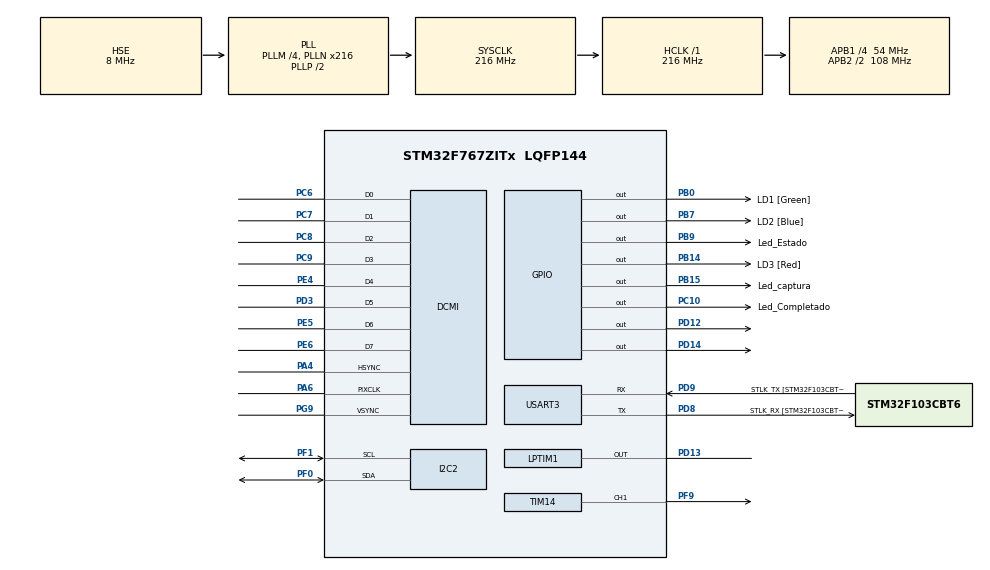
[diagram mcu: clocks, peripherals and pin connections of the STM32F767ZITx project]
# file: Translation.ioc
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CORTEX_M7.CPU_DCache=Enabled
CORTEX_M7.CPU_ICache=Enabled
CORTEX_M7.PREFETCH_ENABLE=1
DCMI.JPEGMode=DCMI_JPEG_DISABLE
DCMI.PCKPolarity=DCMI_PCKPOLARITY_RISING
DCMI.VSPolarity=DCMI_VSPOLARITY_HIGH
Dma.DCMI.0.Direction=DMA_PERIPH_TO_MEMORY
Dma.DCMI.0.FIFOMode=DMA_FIFOMODE_DISABLE
Dma.DCMI.0.Instance=DMA2_Stream1
Dma.DCMI.0.MemDataAlignment=DMA_MDATAALIGN_WORD
Dma.DCMI.0.MemInc=DMA_MINC_ENABLE
Dma.DCMI.0.Mode=DMA_NORMAL
Dma.DCMI.0.PeriphDataAlignment=DMA_PDATAALIGN_WORD
Dma.DCMI.0.PeriphInc=DMA_PINC_DISABLE
Dma.DCMI.0.Priority=DMA_PRIORITY_LOW
Dma.Request0=DCMI
I2C2.Timing=0x20404768
Mcu.Family=STM32F7
Mcu.Name=STM32F767ZITx
Mcu.Package=LQFP144
NVIC.DCMI_IRQn=true\:1\:0\:true\:false\:true\:true\:true\:true
NVIC.DMA2_Stream1_IRQn=true\:1\:0\:true\:false\:true\:false\:true\:true
NVIC.PriorityGroup=NVIC_PRIORITYGROUP_4
NVIC.TIM2_IRQn=true\:2\:0\:true\:false\:true\:true\:true\:true
NVIC.TIM3_IRQn=true\:0\:0\:false\:false\:true\:true\:true\:true
NVIC.TIM8_TRG_COM_TIM14_IRQn=true\:0\:0\:false\:false\:true\:true\:true\:true
NVIC.USART3_IRQn=true\:2\:0\:true\:false\:true\:true\:true\:true
PA13.GPIO_Label=TMS
PA13.Mode=Serial_Wire
PA13.Signal=SYS_JTMS-SWDIO
PA14.GPIO_Label=TCK
PA14.Mode=Serial_Wire
PA14.Signal=SYS_JTCK-SWCLK
PA4.Mode=Slave_8_bits_External_Synchro
PA4.Signal=DCMI_HSYNC
PA6.Mode=Slave_8_bits_External_Synchro
PA6.Signal=DCMI_PIXCLK
PB0.GPIO_Label=LD1 [Green]
PB0.GPIO_Speed=GPIO_SPEED_FREQ_VERY_HIGH
PB0.PinState=GPIO_PIN_SET
PB0.Signal=GPIO_Output
PB14.GPIO_Label=LD3 [Red]
PB14.Signal=GPIO_Output
PB15.GPIO_Label=Led_captura
PB15.Signal=GPIO_Output
PB7.GPIO_Label=LD2 [Blue]
PB7.Signal=GPIO_Output
PB9.GPIO_Label=Led_Estado
PB9.Signal=GPIO_Output
PC10.GPIO_Label=Led_Completado
PC10.Signal=GPIO_Output
PC6.Mode=Slave_8_bits_External_Synchro
PC6.Signal=DCMI_D0
PC7.Mode=Slave_8_bits_External_Synchro
PC7.Signal=DCMI_D1
PC8.Mode=Slave_8_bits_External_Synchro
PC8.Signal=DCMI_D2
PC9.Mode=Slave_8_bits_External_Synchro
PC9.Signal=DCMI_D3
PD12.GPIO_PuPd=GPIO_PULLUP
PD12.Signal=GPIO_Output
PD13.Mode=WaveformGeneration
PD13.Signal=LPTIM1_OUT
PD14.GPIO_PuPd=GPIO_PULLUP
PD14.Signal=GPIO_Output
PD3.Mode=Slave_8_bits_External_Synchro
PD3.Signal=DCMI_D5
PD8.GPIO_Label=STLK_RX [STM32F103CBT6_PA3]
PD8.Mode=Asynchronous
PD8.Signal=USART3_TX
PD9.GPIO_Label=STLK_TX [STM32F103CBT6_PA2]
PD9.Mode=Asynchronous
PD9.Signal=USART3_RX
PE4.Mode=Slave_8_bits_External_Synchro
PE4.Signal=DCMI_D4
PE5.Mode=Slave_8_bits_External_Synchro
PE5.Signal=DCMI_D6
PE6.Mode=Slave_8_bits_External_Synchro
PE6.Signal=DCMI_D7
PF0.Mode=I2C
PF0.Signal=I2C2_SDA
PF1.Mode=I2C
PF1.Signal=I2C2_SCL
PF9.Signal=S_TIM14_CH1
PG9.Mode=Slave_8_bits_External_Synchro
PG9.Signal=DCMI_VSYNC
PH0/OSC_IN.GPIO_Label=MCO [STM32F103CBT6_PA8]
PH0/OSC_IN.Mode=HSE-External-Oscillator
PH0/OSC_IN.Signal=RCC_OSC_IN
PH1/OSC_OUT.Mode=HSE-External-Oscillator
PH1/OSC_OUT.Signal=RCC_OSC_OUT
ProjectManager.HeapSize=0x200
ProjectManager.StackSize=0x400
ProjectManager.TargetToolchain=STM32CubeIDE
RCC.48MHZClocksFreq_Value=24000000
RCC.AHBFreq_Value=216000000
RCC.APB1CLKDivider=RCC_HCLK_DIV4
RCC.APB1Freq_Value=54000000
RCC.APB1TimFreq_Value=108000000
RCC.APB2CLKDivider=RCC_HCLK_DIV2
RCC.APB2Freq_Value=108000000
RCC.APB2TimFreq_Value=216000000
RCC.CortexFreq_Value=216000000
RCC.HCLKFreq_Value=216000000
RCC.HSE_VALUE=8000000
RCC.HSI_VALUE=16000000
RCC.LSE_VALUE=32768
RCC.PLLM=4
RCC.PLLMUL=RCC_PLL_MUL9
RCC.PLLN=216
RCC.PLLQ=4
RCC.PLLSourceVirtual=RCC_PLLSOURCE_HSE
RCC.PRESCALERUSB=RCC_USBCLKSOURCE_PLL_DIV1_5
RCC.SYSCLKFreq_VALUE=216000000
RCC.SYSCLKSource=RCC_SYSCLKSOURCE_PLLCLK
RCC.SYSCLKSourceVirtual=RCC_SYSCLKSOURCE_PLLCLK
RCC.USBFreq_Value=108000000
RCC.VCOOutputFreq_Value=432000000
SH.S_TIM14_CH1.0=TIM14_CH1,PWM Generation1 CH1
TIM14.Channel=TIM_CHANNEL_1
TIM14.Period=10000
TIM14.Prescaler=216 -1
TIM14.Pulse=5000
TIM2.ClockDivision=TIM_CLOCKDIVISION_DIV2
TIM2.Period=2500 - 1 
TIM2.Prescaler=21600-1
TIM3.Period=25-1
TIM3.Prescaler=2160-1
USART3.VirtualMode-Asynchronous=VM_ASYNC
VP_LPTIM1_VS_LPTIM_counterModeInternalClock.Mode=Counts__internal_clock_event_00
VP_TIM14_VS_ClockSourceINT.Mode=Enable_Timer
VP_TIM2_VS_ClockSourceINT.Mode=Internal
VP_TIM3_VS_ClockSourceINT.Mode=Internal
board=NUCLEO-F767ZI

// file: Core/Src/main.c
/* USER CODE BEGIN Header */
/**
  ******************************************************************************
  * @file           : main.c
  * @brief          : Main program body Smontoya
  ******************************************************************************
  * @attention
  *
  * Copyright (c) 2023 STMicroelectronics.
  * All rights reserved.
  *
  * This software is licensed under terms that can be found in the LICENSE file
  * in the root directory of this software component.
  * If no LICENSE file comes with this software, it is provided AS-IS.
  *
  ******************************************************************************
  */
/* USER CODE END Header */
#include "main.h"

/* USER CODE BEGIN Includes */
#include <string.h>
#include <stdio.h>
#include <stdint.h>
#include <stdbool.h>
//Hardware
#include "OV7670.h"

#include "color_conversion.h"
/* USER CODE END Includes */

/* USER CODE BEGIN PM */
#define res_QVGA 320*240/2
#define res_CIF 352*288/2
#define res_QCIF 176*144/2
#define res_QQCIF 88*72/2

/* USER CODE END PM */

DCMI_HandleTypeDef hdcmi;
DMA_HandleTypeDef hdma_dcmi;

I2C_HandleTypeDef hi2c2;

LPTIM_HandleTypeDef hlptim1;

TIM_HandleTypeDef htim2;
TIM_HandleTypeDef htim3;
TIM_HandleTypeDef htim14;

UART_HandleTypeDef huart3;

/* USER CODE BEGIN PV */
char uart_Buffer[256];
uint8_t uart_Recieve;

uint8_t conteo_Frames = 0;
uint8_t PWM_flag = 0;
uint8_t DMA_complete_flag = 0;
uint8_t DCMI_Frame_Flag = 0;
uint8_t capturando = 0;

uint32_t image_data[res_CIF/2] = {0};

Camera_settings OV7670_settings={
		CIF, 		//Resolution
		RGB565,  	//Format
		NORMAL, 	//Effect
		ON,			//AEC
		ON, 		//AGC
		ON, 		//AWB
		OFF,		//Color bar
		OFF,		//vertical flip
		OFF,		//Horizontal flip
		OFF,		//Night mode
		OFF,		//ASC
		ON,			//De-noise
		ON,			//Banding filter
		HISTOGRAM,	//AEC algorithm
		QUARTER_FPS,//Min. fps in night mode
		F_AUTO,		//Auto detect banding freq.
		256, 		//Exposure - 2 bytes
		4, 			//Gain	[0-7]=[1-128]
		160,		//Brightness - byte
		64, 		//Contrast - byte
		80, 		//Saturation - byte
		2,			//Sharpness	- [0-31]
		0,			//De-noise strength - byte
		x16, 		//Gain ceiling
		77, 		//R channel gain - byte
		103, 		//G channel gain - byte
		153			//B channel gain - byte
};

/* USER CODE END PV */

void SystemClock_Config(void);
static void MX_GPIO_Init(void);
static void MX_DMA_Init(void);
static void MX_DCMI_Init(void);
static void MX_I2C2_Init(void);
static void MX_LPTIM1_Init(void);
static void MX_TIM2_Init(void);
static void MX_USART3_UART_Init(void);
static void MX_TIM3_Init(void);
static void MX_TIM14_Init(void);
/* USER CODE BEGIN PFP */
//void TransferComplete(DMA_HandleTypeDef *DmaHandle);
void send_Image_UART(uint32_t* image_Data,uint32_t res_Size);
void check_Frame(void);
void send_Frame(void);

/* USER CODE END PFP */

/* USER CODE BEGIN 0 */
void HAL_TIM_PeriodElapsedCallback(TIM_HandleTypeDef *htim){
	if(htim == &htim2){
		HAL_GPIO_TogglePin(LD1_GPIO_Port, LD1_Pin);
		HAL_GPIO_TogglePin(Led_Estado_GPIO_Port, Led_Estado_Pin);
	}
}

void HAL_TIM_PWM_PulseFinishedCallback(TIM_HandleTypeDef *htim){
	if(htim == &htim14){
		HAL_TIM_PWM_Stop(&htim14, TIM_CHANNEL_1);
		HAL_GPIO_WritePin(Led_Completado_GPIO_Port, Led_Completado_Pin, SET);
	}
}
void HAL_UART_RxCpltCallback(UART_HandleTypeDef *huart){
	HAL_UART_Receive_IT(&huart3, &uart_Recieve, 1);
}

/* No funciona */
//void TransferComplete(DMA_HandleTypeDef *DmaHandle){
//	DMA_complete_flag = DMA_complete_flag + 1;
//}

void HAL_DCMI_FrameEventCallback(DCMI_HandleTypeDef *hdcmi){
	DMA_complete_flag = 1;
}

/* No funciona */
//void DMA_XferCpltCallback(DMA_HandleTypeDef *hdcmi_hdma){
//	DMA_complete_flag = DMA_complete_flag + 3;
//}
/* USER CODE END 0 */

int main(void)
{

  /* Enable I-Cache---------------------------------------------------------*/
  SCB_EnableICache();

  /* Enable D-Cache---------------------------------------------------------*/
  SCB_EnableDCache();

  /* MCU Configuration--------------------------------------------------------*/

  /* Reset of all peripherals, Initializes the Flash interface and the Systick. */
  HAL_Init();

  /* Configure the system clock */
  SystemClock_Config();

  /* Initialize all configured peripherals */
  MX_GPIO_Init();
  MX_DMA_Init();
  MX_DCMI_Init();
  MX_I2C2_Init();
  MX_LPTIM1_Init();
  MX_TIM2_Init();
  MX_USART3_UART_Init();
  MX_TIM3_Init();
  MX_TIM14_Init();
  /* USER CODE BEGIN 2 */

  // Inicialización de timer LED
  HAL_TIM_Base_Start_IT(&htim2);

  // Inicialización de USART para comunicación
  HAL_UART_Receive_IT(&huart3, &uart_Recieve, 1);

  // Apaga cámara
  OV7670_Power(DISABLE);

  /* Funcion que relaciona los perifericos usados con los punteros
  	  creados en el driver */
  OV7670_Init(&hdcmi, &hdma_dcmi, &hi2c2, &hlptim1);

  /* Enciende el reloj que se le va a entregar a la cámara, retorna RST y PWDN
   * a los estados de funcionamiento y realiza un soft reset de los registros
   * en la cámara */
  OV7670_PowerUp();

  sprintf(uart_Buffer, "Camara configurada\n");
  HAL_UART_Transmit(&huart3, (uint8_t*) uart_Buffer, strlen(uart_Buffer), 100);

  /* Realiza configuraciones personalizadas en la cámara, ajustes de fotografía,
   * resolución y funcionamiento */
  OV7670_UpdateSettings(OV7670_settings);
  OV7670_SetFrameRate(XCLK_DIV(1), PLL_x4); // Es posiblemente innecesario porque se va a capturar solo 1 frame cada vez
  HAL_Delay(10);

  /* En teoría en este momento, image_data debería obtener la información de 1 frame */
//  uint32_t image_Data_Full = 0;
//  for(uint32_t i = 0; i < 352*144; i++){
//	  if(image_data[i] == 0){
//		  __NOP();
//	  }
//	  else {
//		  image_Data_Full++;
//	  }
//  }

  /* USER CODE END 2 */

  /* Infinite loop */
  /* USER CODE BEGIN WHILE */

  sprintf(uart_Buffer, "Cada que termina un frame, presione 's' después de guardar los datos.\n");
  HAL_UART_Transmit(&huart3, (uint8_t*) uart_Buffer, strlen(uart_Buffer), 100);
  sprintf(uart_Buffer, "Limpie la pantalla y presione 'i' para iniciar.\n");
  HAL_UART_Transmit(&huart3, (uint8_t*) uart_Buffer, strlen(uart_Buffer), 100);

  while (1)
  {
	 if(uart_Recieve != '\0'){

		 if(uart_Recieve == 'i'){
			 capturando = 1;
		 }

//		 else if(uart_Recieve == 'a'){
//			 // Iniciar captura
//			 OV7670_Start(SNAPSHOT, image_data);
//
//			 // Esperar que llegue el frame completo
//			 check_Frame();
//
//			 // Detener captura DCMI cuando el DMA termine
//			 OV7670_Stop();
//
//			 /* Transmitir imagen por serial USART */
//			 for(uint32_t i = 0; i <  res_QCIF/2; i++){
//				  for(int j = 0; j <= 3; j++){
//					 uint8_t var = ((image_data[i] >> (8*j)) & 0xFF);
//					 HAL_UART_Transmit(&huart3, &var, 1, 100);
//				  }
//			 }
//
////			 sprintf(uart_Buffer, "\nFrame enviado.\n");
////			 HAL_UART_Transmit(&huart3, (uint8_t*) uart_Buffer, strlen(uart_Buffer), 100);
//
//			 // Controlador para evaluar cuándo el sistema realizó 200 fotos
//			 conteo_Frames++;
//
//			 // Inicio de PWM que gira un paso el motor
//			 PWM_flag = 1;
//			 HAL_TIM_PWM_Start_IT(&htim14, TIM_CHANNEL_1);
//
////			 sprintf(uart_Buffer, "\nGiro motor.\n");
////			 HAL_UART_Transmit(&huart3, (uint8_t*) uart_Buffer, strlen(uart_Buffer), 100);
//
//			 uart_Recieve = '\0';
//		 }
//
//		 else if(uart_Recieve == 'e'){
//			 sprintf(uart_Buffer, "0D0A");
//			 HAL_UART_Transmit(&huart3, (uint8_t*) uart_Buffer, strlen(uart_Buffer), 100);
//			 uart_Recieve = '\0';
//		 }
		 else {
			 uart_Recieve = '\0';
		 }
		 while(capturando == 1 && conteo_Frames < 200){
			 send_Frame();
		 }

//		 while(capturando == 1 && conteo_Frames < 200){
//
//			 // Iniciar captura
//			 OV7670_Start(SNAPSHOT, image_data);
//
//			 // Esperar que llegue el frame completo
//			 check_Frame();
//
//			 // Detener captura DCMI cuando el DMA termine
//			 OV7670_Stop();
//
//			 /* Transmitir imagen por serial USART */
//			 for(uint32_t i = 0; i <  res_QCIF/2; i++){
//				  for(int j = 0; j <= 3; j++){
//					 uint8_t var = ((image_data[i] >> (8*j)) & 0xFF);
//					 HAL_UART_Transmit(&huart3, &var, 1, 100);
//				  }
//			 }
//
////			 sprintf(uart_Buffer, "\nFrame enviado.\n");
////			 HAL_UART_Transmit(&huart3, (uint8_t*) uart_Buffer, strlen(uart_Buffer), 100);
//
//			 // Controlador para evaluar cuándo el sistema realizó 200 fotos
//			 conteo_Frames++;
//
//			 // Inicio de PWM que gira un paso el motor
//			 PWM_flag = 1;
//			 HAL_TIM_PWM_Start_IT(&htim14, TIM_CHANNEL_1);
//
////			 sprintf(uart_Buffer, "\nGiro motor.\n");
////			 HAL_UART_Transmit(&huart3, (uint8_t*) uart_Buffer, strlen(uart_Buffer), 100);
//
//			 uart_Recieve = '\0';
//
//		 }

	 }
    /* USER CODE END WHILE */

  }
}

void SystemClock_Config(void)
{
  RCC_OscInitTypeDef RCC_OscInitStruct = {0};
  RCC_ClkInitTypeDef RCC_ClkInitStruct = {0};

  /** Configure the main internal regulator output voltage
  */
  __HAL_RCC_PWR_CLK_ENABLE();
  __HAL_PWR_VOLTAGESCALING_CONFIG(PWR_REGULATOR_VOLTAGE_SCALE1);

  /** Initializes the RCC Oscillators according to the specified parameters
  * in the RCC_OscInitTypeDef structure.
  */
  RCC_OscInitStruct.OscillatorType = RCC_OSCILLATORTYPE_HSE;
  RCC_OscInitStruct.HSEState = RCC_HSE_ON;
  RCC_OscInitStruct.PLL.PLLState = RCC_PLL_ON;
  RCC_OscInitStruct.PLL.PLLSource = RCC_PLLSOURCE_HSE;
  RCC_OscInitStruct.PLL.PLLM = 4;
  RCC_OscInitStruct.PLL.PLLN = 216;
  RCC_OscInitStruct.PLL.PLLP = RCC_PLLP_DIV2;
  RCC_OscInitStruct.PLL.PLLQ = 4;
  RCC_OscInitStruct.PLL.PLLR = 2;
  if (HAL_RCC_OscConfig(&RCC_OscInitStruct) != HAL_OK)
  {
    Error_Handler();
  }

  /** Activate the Over-Drive mode
  */
  if (HAL_PWREx_EnableOverDrive() != HAL_OK)
  {
    Error_Handler();
  }

  /** Initializes the CPU, AHB and APB buses clocks
  */
  RCC_ClkInitStruct.ClockType = RCC_CLOCKTYPE_HCLK|RCC_CLOCKTYPE_SYSCLK
                              |RCC_CLOCKTYPE_PCLK1|RCC_CLOCKTYPE_PCLK2;
  RCC_ClkInitStruct.SYSCLKSource = RCC_SYSCLKSOURCE_PLLCLK;
  RCC_ClkInitStruct.AHBCLKDivider = RCC_SYSCLK_DIV1;
  RCC_ClkInitStruct.APB1CLKDivider = RCC_HCLK_DIV4;
  RCC_ClkInitStruct.APB2CLKDivider = RCC_HCLK_DIV2;

  if (HAL_RCC_ClockConfig(&RCC_ClkInitStruct, FLASH_LATENCY_7) != HAL_OK)
  {
    Error_Handler();
  }
}

static void MX_DCMI_Init(void)
{

  hdcmi.Instance = DCMI;
  hdcmi.Init.SynchroMode = DCMI_SYNCHRO_HARDWARE;
  hdcmi.Init.PCKPolarity = DCMI_PCKPOLARITY_RISING;
  hdcmi.Init.VSPolarity = DCMI_VSPOLARITY_HIGH;
  hdcmi.Init.HSPolarity = DCMI_HSPOLARITY_LOW;
  hdcmi.Init.CaptureRate = DCMI_CR_ALL_FRAME;
  hdcmi.Init.ExtendedDataMode = DCMI_EXTEND_DATA_8B;
  hdcmi.Init.JPEGMode = DCMI_JPEG_DISABLE;
  hdcmi.Init.ByteSelectMode = DCMI_BSM_ALL;
  hdcmi.Init.ByteSelectStart = DCMI_OEBS_ODD;
  hdcmi.Init.LineSelectMode = DCMI_LSM_ALL;
  hdcmi.Init.LineSelectStart = DCMI_OELS_ODD;
  if (HAL_DCMI_Init(&hdcmi) != HAL_OK)
  {
    Error_Handler();
  }

}

static void MX_I2C2_Init(void)
{

  hi2c2.Instance = I2C2;
  hi2c2.Init.Timing = 0x20404768;
  hi2c2.Init.OwnAddress1 = 0;
  hi2c2.Init.AddressingMode = I2C_ADDRESSINGMODE_7BIT;
  hi2c2.Init.DualAddressMode = I2C_DUALADDRESS_DISABLE;
  hi2c2.Init.OwnAddress2 = 0;
  hi2c2.Init.OwnAddress2Masks = I2C_OA2_NOMASK;
  hi2c2.Init.GeneralCallMode = I2C_GENERALCALL_DISABLE;
  hi2c2.Init.NoStretchMode = I2C_NOSTRETCH_DISABLE;
  if (HAL_I2C_Init(&hi2c2) != HAL_OK)
  {
    Error_Handler();
  }

  /** Configure Analogue filter
  */
  if (HAL_I2CEx_ConfigAnalogFilter(&hi2c2, I2C_ANALOGFILTER_ENABLE) != HAL_OK)
  {
    Error_Handler();
  }

  /** Configure Digital filter
  */
  if (HAL_I2CEx_ConfigDigitalFilter(&hi2c2, 0) != HAL_OK)
  {
    Error_Handler();
  }

}

static void MX_LPTIM1_Init(void)
{

  hlptim1.Instance = LPTIM1;
  hlptim1.Init.Clock.Source = LPTIM_CLOCKSOURCE_APBCLOCK_LPOSC;
  hlptim1.Init.Clock.Prescaler = LPTIM_PRESCALER_DIV1;
  hlptim1.Init.Trigger.Source = LPTIM_TRIGSOURCE_SOFTWARE;
  hlptim1.Init.OutputPolarity = LPTIM_OUTPUTPOLARITY_HIGH;
  hlptim1.Init.UpdateMode = LPTIM_UPDATE_IMMEDIATE;
  hlptim1.Init.CounterSource = LPTIM_COUNTERSOURCE_INTERNAL;
  if (HAL_LPTIM_Init(&hlptim1) != HAL_OK)
  {
    Error_Handler();
  }

}

static void MX_TIM2_Init(void)
{

  TIM_ClockConfigTypeDef sClockSourceConfig = {0};
  TIM_MasterConfigTypeDef sMasterConfig = {0};

  htim2.Instance = TIM2;
  htim2.Init.Prescaler = 21600-1;
  htim2.Init.CounterMode = TIM_COUNTERMODE_UP;
  htim2.Init.Period = 2500 - 1 ;
  htim2.Init.ClockDivision = TIM_CLOCKDIVISION_DIV2;
  htim2.Init.AutoReloadPreload = TIM_AUTORELOAD_PRELOAD_DISABLE;
  if (HAL_TIM_Base_Init(&htim2) != HAL_OK)
  {
    Error_Handler();
  }
  sClockSourceConfig.ClockSource = TIM_CLOCKSOURCE_INTERNAL;
  if (HAL_TIM_ConfigClockSource(&htim2, &sClockSourceConfig) != HAL_OK)
  {
    Error_Handler();
  }
  sMasterConfig.MasterOutputTrigger = TIM_TRGO_RESET;
  sMasterConfig.MasterSlaveMode = TIM_MASTERSLAVEMODE_DISABLE;
  if (HAL_TIMEx_MasterConfigSynchronization(&htim2, &sMasterConfig) != HAL_OK)
  {
    Error_Handler();
  }

}

static void MX_TIM3_Init(void)
{

  TIM_ClockConfigTypeDef sClockSourceConfig = {0};
  TIM_MasterConfigTypeDef sMasterConfig = {0};

  htim3.Instance = TIM3;
  htim3.Init.Prescaler = 2160-1;
  htim3.Init.CounterMode = TIM_COUNTERMODE_UP;
  htim3.Init.Period = 25-1;
  htim3.Init.ClockDivision = TIM_CLOCKDIVISION_DIV1;
  htim3.Init.AutoReloadPreload = TIM_AUTORELOAD_PRELOAD_DISABLE;
  if (HAL_TIM_Base_Init(&htim3) != HAL_OK)
  {
    Error_Handler();
  }
  sClockSourceConfig.ClockSource = TIM_CLOCKSOURCE_INTERNAL;
  if (HAL_TIM_ConfigClockSource(&htim3, &sClockSourceConfig) != HAL_OK)
  {
    Error_Handler();
  }
  sMasterConfig.MasterOutputTrigger = TIM_TRGO_RESET;
  sMasterConfig.MasterSlaveMode = TIM_MASTERSLAVEMODE_DISABLE;
  if (HAL_TIMEx_MasterConfigSynchronization(&htim3, &sMasterConfig) != HAL_OK)
  {
    Error_Handler();
  }

}

static void MX_TIM14_Init(void)
{

  TIM_OC_InitTypeDef sConfigOC = {0};

  htim14.Instance = TIM14;
  htim14.Init.Prescaler = 216 -1;
  htim14.Init.CounterMode = TIM_COUNTERMODE_UP;
  htim14.Init.Period = 10000;
  htim14.Init.ClockDivision = TIM_CLOCKDIVISION_DIV1;
  htim14.Init.AutoReloadPreload = TIM_AUTORELOAD_PRELOAD_DISABLE;
  if (HAL_TIM_Base_Init(&htim14) != HAL_OK)
  {
    Error_Handler();
  }
  if (HAL_TIM_PWM_Init(&htim14) != HAL_OK)
  {
    Error_Handler();
  }
  sConfigOC.OCMode = TIM_OCMODE_PWM1;
  sConfigOC.Pulse = 5000;
  sConfigOC.OCPolarity = TIM_OCPOLARITY_HIGH;
  sConfigOC.OCFastMode = TIM_OCFAST_DISABLE;
  if (HAL_TIM_PWM_ConfigChannel(&htim14, &sConfigOC, TIM_CHANNEL_1) != HAL_OK)
  {
    Error_Handler();
  }
  HAL_TIM_MspPostInit(&htim14);

}

static void MX_USART3_UART_Init(void)
{

  huart3.Instance = USART3;
  huart3.Init.BaudRate = 115200;
  huart3.Init.WordLength = UART_WORDLENGTH_8B;
  huart3.Init.StopBits = UART_STOPBITS_1;
  huart3.Init.Parity = UART_PARITY_NONE;
  huart3.Init.Mode = UART_MODE_TX_RX;
  huart3.Init.HwFlowCtl = UART_HWCONTROL_NONE;
  huart3.Init.OverSampling = UART_OVERSAMPLING_16;
  huart3.Init.OneBitSampling = UART_ONE_BIT_SAMPLE_DISABLE;
  huart3.AdvancedInit.AdvFeatureInit = UART_ADVFEATURE_NO_INIT;
  if (HAL_UART_Init(&huart3) != HAL_OK)
  {
    Error_Handler();
  }

}

static void MX_DMA_Init(void)
{

  /* DMA controller clock enable */
  __HAL_RCC_DMA2_CLK_ENABLE();

  /* DMA interrupt init */
  /* DMA2_Stream1_IRQn interrupt configuration */
  HAL_NVIC_SetPriority(DMA2_Stream1_IRQn, 1, 0);
  HAL_NVIC_EnableIRQ(DMA2_Stream1_IRQn);

}

static void MX_GPIO_Init(void)
{
  GPIO_InitTypeDef GPIO_InitStruct = {0};

  /* GPIO Ports Clock Enable */
  __HAL_RCC_GPIOE_CLK_ENABLE();
  __HAL_RCC_GPIOF_CLK_ENABLE();
  __HAL_RCC_GPIOH_CLK_ENABLE();
  __HAL_RCC_GPIOA_CLK_ENABLE();
  __HAL_RCC_GPIOB_CLK_ENABLE();
  __HAL_RCC_GPIOD_CLK_ENABLE();
  __HAL_RCC_GPIOC_CLK_ENABLE();
  __HAL_RCC_GPIOG_CLK_ENABLE();

  /*Configure GPIO pin Output Level */
  HAL_GPIO_WritePin(LD1_GPIO_Port, LD1_Pin, GPIO_PIN_SET);

  /*Configure GPIO pin Output Level */
  HAL_GPIO_WritePin(GPIOB, LD3_Pin|Led_captura_Pin|LD2_Pin|Led_Estado_Pin, GPIO_PIN_RESET);

  /*Configure GPIO pin Output Level */
  HAL_GPIO_WritePin(GPIOD, GPIO_PIN_12|GPIO_PIN_14, GPIO_PIN_RESET);

  /*Configure GPIO pin Output Level */
  HAL_GPIO_WritePin(Led_Completado_GPIO_Port, Led_Completado_Pin, GPIO_PIN_RESET);

  /*Configure GPIO pin : LD1_Pin */
  GPIO_InitStruct.Pin = LD1_Pin;
  GPIO_InitStruct.Mode = GPIO_MODE_OUTPUT_PP;
  GPIO_InitStruct.Pull = GPIO_NOPULL;
  GPIO_InitStruct.Speed = GPIO_SPEED_FREQ_VERY_HIGH;
  HAL_GPIO_Init(LD1_GPIO_Port, &GPIO_InitStruct);

  /*Configure GPIO pins : LD3_Pin Led_captura_Pin LD2_Pin Led_Estado_Pin */
  GPIO_InitStruct.Pin = LD3_Pin|Led_captura_Pin|LD2_Pin|Led_Estado_Pin;
  GPIO_InitStruct.Mode = GPIO_MODE_OUTPUT_PP;
  GPIO_InitStruct.Pull = GPIO_NOPULL;
  GPIO_InitStruct.Speed = GPIO_SPEED_FREQ_LOW;
  HAL_GPIO_Init(GPIOB, &GPIO_InitStruct);

  /*Configure GPIO pins : PD12 PD14 */
  GPIO_InitStruct.Pin = GPIO_PIN_12|GPIO_PIN_14;
  GPIO_InitStruct.Mode = GPIO_MODE_OUTPUT_PP;
  GPIO_InitStruct.Pull = GPIO_PULLUP;
  GPIO_InitStruct.Speed = GPIO_SPEED_FREQ_LOW;
  HAL_GPIO_Init(GPIOD, &GPIO_InitStruct);

  /*Configure GPIO pin : Led_Completado_Pin */
  GPIO_InitStruct.Pin = Led_Completado_Pin;
  GPIO_InitStruct.Mode = GPIO_MODE_OUTPUT_PP;
  GPIO_InitStruct.Pull = GPIO_NOPULL;
  GPIO_InitStruct.Speed = GPIO_SPEED_FREQ_LOW;
  HAL_GPIO_Init(Led_Completado_GPIO_Port, &GPIO_InitStruct);

}

/* USER CODE BEGIN 4 */
void send_Image_UART(uint32_t* image_Data,uint32_t res_Size){
	uint32_t dataAmount = res_Size;
	for(uint32_t i = 0; i <  dataAmount; i++){
		  for(int j = 0; j <= 3; j++){
			 uint8_t var = ((image_Data[i] >> (8*j)) & 0xFF);
			 HAL_UART_Transmit(&huart3, &var, 1, 100);
		  }
	 }
}

void check_Frame(void){
	while(DCMI_Frame_Flag == 0 && HAL_DMA_GetState(&hdma_dcmi) != HAL_DMA_STATE_READY);
	DCMI_Frame_Flag = 0;
}

void send_Frame(void){
	 if(uart_Recieve == 's' || uart_Recieve == 'i'){
		 // Apagar pin de completado
		 HAL_GPIO_WritePin(Led_Completado_GPIO_Port, Led_Completado_Pin, RESET);

		 // Reinicio de bandera para chequear nuevo frame
		 DCMI_Frame_Flag = 0;

		 // Iniciar captura
		 OV7670_Start(SNAPSHOT, image_data);

		 // Esperar que llegue el frame completo
		 check_Frame();

		 // Detener captura DCMI cuando el DMA termine
		 OV7670_Stop();

		 /* Transmitir imagen por serial USART */
		for(uint32_t i = 0; i <  res_CIF; i++){
			  for(int j = 0; j <= 3; j++){
				 uint8_t var = ((image_data[i] >> (8*j)) & 0xFF);
				 HAL_UART_Transmit(&huart3, &var, 1, 100);
			  }
		 }

//		 sprintf(uart_Buffer, "\nFrame enviado.\n");
//		 HAL_UART_Transmit(&huart3, (uint8_t*) uart_Buffer, strlen(uart_Buffer), 100);

		 // Inicio de PWM que gira un paso el motor
		 PWM_flag = 1;
		 HAL_TIM_PWM_Start_IT(&htim14, TIM_CHANNEL_1);

//		sprintf(uart_Buffer, "\nGiro motor.\n");
//		HAL_UART_Transmit(&huart3, (uint8_t*) uart_Buffer, strlen(uart_Buffer), 100);

		 // Control para evaluar cuándo el sistema realizó 200 fotos
		 conteo_Frames++;

		if(conteo_Frames == 5){
			uart_Recieve = '\0';
			capturando = 0;
			conteo_Frames = 0;
		}
	 }
}

/* No funciona creo */
//void send_Serial_End(void){
//	sprintf(uart_Buffer, "%X %X", 15, 15);
//
//}
/* USER CODE END 4 */

void Error_Handler(void)
{
  __disable_irq();
  while (1)
  {
  }
}
